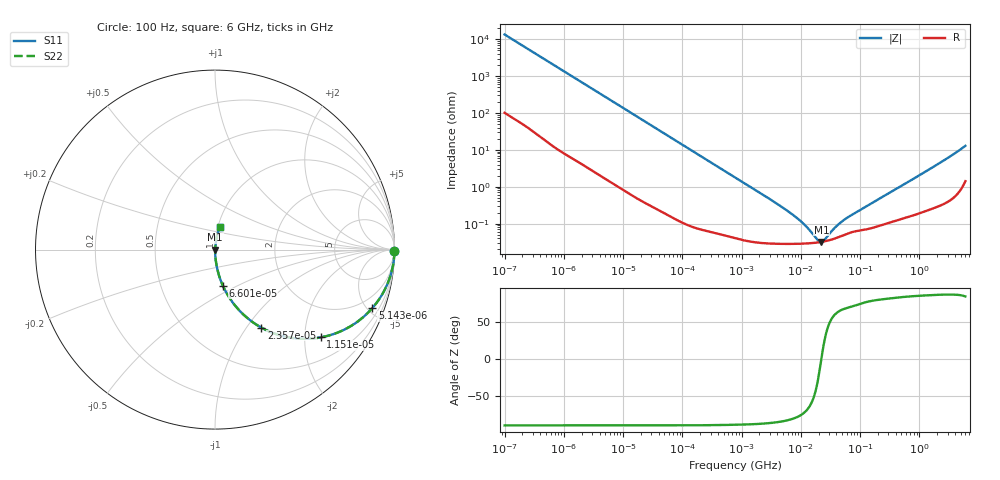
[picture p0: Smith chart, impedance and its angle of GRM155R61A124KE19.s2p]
!Murata Part Number: GRM155R61A124KE19
!These Parameters are Measured in Series Mode Connection
!Data Generated on Mar 30, 2021
!  o--ll--o
!Port1  Port2
!  o------o
!Operation Temp=25[degC], DC Bias Voltage=0[V]
!Freq. Start=100[Hz] Stop=6[GHz] 401[Steps]
# Hz S RI R 50
!Freq.(Hz) S11(Real) S11(Imag) S21(Real) S21(Imag) S12(Real) S12(Imag) S22(Real) S22(Imag)
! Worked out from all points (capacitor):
!   401 points, 100 Hz to 6 GHz, reference 50 ohm
!   read as one part in series: C = 117 nF near 109 Hz
!   lowest |Z| = 31.9 mohm at 22.26 MHz (marker M1)
!   series resonance near 22.25 MHz, so ESL is about 440 pH
!   S11 on the Smith chart (normalised r, x): 100 Hz: open; 5.143 kHz: 1.03, -5.36; 11.51 kHz: 1.01, -2.40; 23.57 kHz: 1.01, -1.18; 66 kHz: 1.00, -0.42; 6 GHz: 1.03, +0.26
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100  0.9999 -0.00738  0.00011 0.00738  0.00011 0.00738  0.9999 -0.00738
600  0.9978 -0.0437  0.00219 0.0437  0.00219 0.0437  0.9978 -0.0437
2008  0.9782 -0.143  0.0218 0.143  0.0218 0.143  0.9782 -0.143
5143  0.8762 -0.3264  0.1238 0.3264  0.1238 0.3264  0.8762 -0.3264
7695  0.7614 -0.4232  0.2386 0.4232  0.2386 0.4232  0.7614 -0.4232
11514  0.5897 -0.4889  0.4103 0.4889  0.4103 0.4889  0.5897 -0.4889
23569  0.258 -0.4345  0.742 0.4345  0.742 0.4345  0.258 -0.4345
40335  0.1075 -0.3064  0.8925 0.3064  0.8925 0.3064  0.1075 -0.3064
66005  0.0438 -0.2012  0.9562 0.2012  0.9562 0.2012  0.0438 -0.2012
184852  0.00638 -0.0749  0.9936 0.0749  0.9936 0.0749  0.00638 -0.0749
774597  0.00073 -0.0181  0.9993 0.0181  0.9993 0.0181  0.00073 -0.0181
6644369  0.000285 -0.00193  0.9997 0.00193  0.9997 0.00193  0.000285 -0.00193
1.087309e7  0.000287 -0.000985  0.9997 0.000985  0.9997 0.000985  0.000287 -0.000985
1.555665e7  0.000297 -0.000461  0.9997 0.000461  0.9997 0.000461  0.000297 -0.000461
1.946e7  0.000309 -0.000169  0.9997 0.000169  0.9997 0.000169  0.000309 -0.000169
2.225763e7  0.000319 5e-07  0.9997 -5e-07  0.9997 -5e-07  0.000319 5e-07
2.545746e7  0.000332 0.000168  0.9997 -0.000168  0.9997 -0.000168  0.000332 0.000168
3.80911e7  0.000398 0.000686  0.9996 -0.000686  0.9996 -0.000686  0.000398 0.000686
5.449875e7  0.0005 0.00118  0.9995 -0.00118  0.9995 -0.00118  0.0005 0.00118
3.124326e8  0.00111 0.00672  0.9989 -0.00672  0.9989 -0.00672  0.00111 0.00672
1.95892e9  0.00431 0.0388  0.9957 -0.0388  0.9957 -0.0388  0.00431 0.0388
6e9  0.0296 0.1232  0.9704 -0.1232  0.9704 -0.1232  0.0296 0.1232
